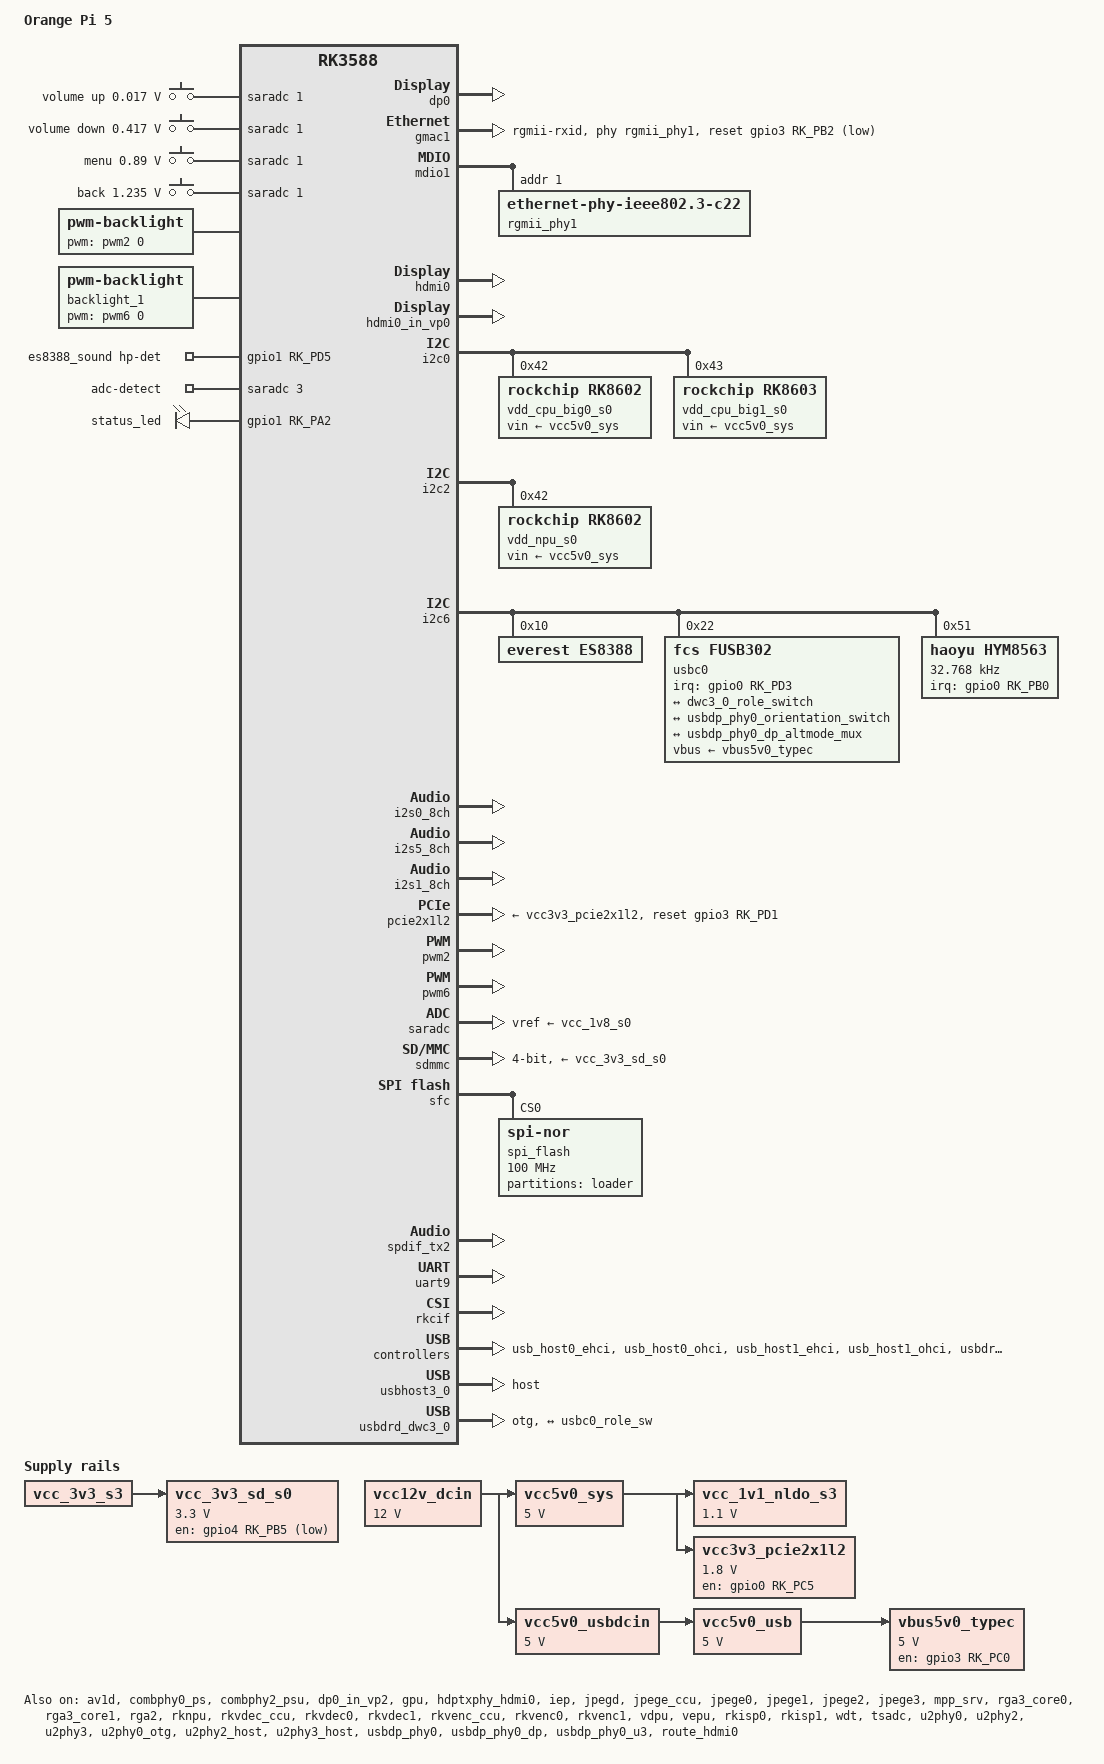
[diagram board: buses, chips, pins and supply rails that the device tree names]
// SPDX-License-Identifier: (GPL-2.0+ OR MIT)
/*
 * Copyright (c) 2021 Rockchip Electronics Co., Ltd.
 *
 */

/dts-v1/;

#include "dt-bindings/usb/pd.h"
#include "rk3588s.dtsi"
#include "rk3588-linux.dtsi"
#include "rk3588-rk806-single.dtsi"
#include <dt-bindings/gpio/gpio.h>
#include <dt-bindings/pwm/pwm.h>
#include <dt-bindings/pinctrl/rockchip.h>
#include <dt-bindings/input/rk-input.h>
#include <dt-bindings/display/drm_mipi_dsi.h>
#include <dt-bindings/display/rockchip_vop.h>
#include <dt-bindings/sensor-dev.h>

#include "rk3588s-orangepi-5-lcd.dtsi"
#include "rk3588s-orangepi-5-camera1.dtsi"
#include "rk3588s-orangepi-5-camera2.dtsi"
#include "rk3588s-orangepi-5-camera3.dtsi"

/ {
	model = "Orange Pi 5";
	compatible = "rockchip,rk3588s-orangepi-5", "rockchip,rk3588";

	/delete-node/ chosen;

	adc_keys: adc-keys {
		compatible = "adc-keys";
		io-channels = <&saradc 1>;
		io-channel-names = "buttons";
		keyup-threshold-microvolt = <1800000>;
		poll-interval = <100>;

		vol-up-key {
			label = "volume up";
			linux,code = <KEY_VOLUMEUP>;
			press-threshold-microvolt = <17000>;
		};

		vol-down-key {
			label = "volume down";
			linux,code = <KEY_VOLUMEDOWN>;
			press-threshold-microvolt = <417000>;
		};

		menu-key {
			label = "menu";
			linux,code = <KEY_MENU>;
			press-threshold-microvolt = <890000>;
		};

		back-key {
			label = "back";
			linux,code = <KEY_BACK>;
			press-threshold-microvolt = <1235000>;
		};
	};

	backlight: backlight {
		compatible = "pwm-backlight";
		brightness-levels = <
			  0  20  20  21  21  22  22  23
			 23  24  24  25  25  26  26  27
			 27  28  28  29  29  30  30  31
			 31  32  32  33  33  34  34  35
			 35  36  36  37  37  38  38  39
			 40  41  42  43  44  45  46  47
			 48  49  50  51  52  53  54  55
			 56  57  58  59  60  61  62  63
			 64  65  66  67  68  69  70  71
			 72  73  74  75  76  77  78  79
			 80  81  82  83  84  85  86  87
			 88  89  90  91  92  93  94  95
			 96  97  98  99 100 101 102 103
			104 105 106 107 108 109 110 111
			112 113 114 115 116 117 118 119
			120 121 122 123 124 125 126 127
			128 129 130 131 132 133 134 135
			136 137 138 139 140 141 142 143
			144 145 146 147 148 149 150 151
			152 153 154 155 156 157 158 159
			160 161 162 163 164 165 166 167
			168 169 170 171 172 173 174 175
			176 177 178 179 180 181 182 183
			184 185 186 187 188 189 190 191
			192 193 194 195 196 197 198 199
			200 201 202 203 204 205 206 207
			208 209 210 211 212 213 214 215
			216 217 218 219 220 221 222 223
			224 225 226 227 228 229 230 231
			232 233 234 235 236 237 238 239
			240 241 242 243 244 245 246 247
			248 249 250 251 252 253 254 255
		>;
		default-brightness-level = <200>;
	};

	backlight_1: backlight_1 {
		compatible = "pwm-backlight";
		brightness-levels = <
			  0  20  20  21  21  22  22  23
			 23  24  24  25  25  26  26  27
			 27  28  28  29  29  30  30  31
			 31  32  32  33  33  34  34  35
			 35  36  36  37  37  38  38  39
			 40  41  42  43  44  45  46  47
			 48  49  50  51  52  53  54  55
			 56  57  58  59  60  61  62  63
			 64  65  66  67  68  69  70  71
			 72  73  74  75  76  77  78  79
			 80  81  82  83  84  85  86  87
			 88  89  90  91  92  93  94  95
			 96  97  98  99 100 101 102 103
			104 105 106 107 108 109 110 111
			112 113 114 115 116 117 118 119
			120 121 122 123 124 125 126 127
			128 129 130 131 132 133 134 135
			136 137 138 139 140 141 142 143
			144 145 146 147 148 149 150 151
			152 153 154 155 156 157 158 159
			160 161 162 163 164 165 166 167
			168 169 170 171 172 173 174 175
			176 177 178 179 180 181 182 183
			184 185 186 187 188 189 190 191
			192 193 194 195 196 197 198 199
			200 201 202 203 204 205 206 207
			208 209 210 211 212 213 214 215
			216 217 218 219 220 221 222 223
			224 225 226 227 228 229 230 231
			232 233 234 235 236 237 238 239
			240 241 242 243 244 245 246 247
			248 249 250 251 252 253 254 255
		>;
		default-brightness-level = <200>;
	};

	dp0_sound: dp0-sound {
		status = "okay";
		compatible = "rockchip,hdmi";
		rockchip,card-name= "rockchip-dp0";
		rockchip,mclk-fs = <512>;
		rockchip,cpu = <&spdif_tx2>;
		rockchip,codec = <&dp0 1>;
		rockchip,jack-det;
	};

	hdmi0_sound: hdmi0-sound {
		status = "okay";
		compatible = "rockchip,hdmi";
		rockchip,mclk-fs = <128>;
		rockchip,card-name = "rockchip-hdmi0";
		rockchip,cpu = <&i2s5_8ch>;
		rockchip,codec = <&hdmi0>;
		rockchip,jack-det;
	};

	spdif_tx1_dc: spdif-tx1-dc {
		status = "disabled";
		compatible = "linux,spdif-dit";
		#sound-dai-cells = <0>;
	};

	spdif_tx1_sound: spdif-tx1-sound {
		status = "disabled";
		compatible = "simple-audio-card";
		simple-audio-card,name = "rockchip,spdif-tx1";
		simple-audio-card,cpu {
			sound-dai = <&spdif_tx1>;
		};
		simple-audio-card,codec {
			sound-dai = <&spdif_tx1_dc>;
		};
	};

	test-power {
		status = "okay";
	};

	vcc12v_dcin: vcc12v-dcin {
		compatible = "regulator-fixed";
		regulator-name = "vcc12v_dcin";
		regulator-always-on;
		regulator-boot-on;
		regulator-min-microvolt = <12000000>;
		regulator-max-microvolt = <12000000>;
	};

	vcc5v0_sys: vcc5v0-sys {
		compatible = "regulator-fixed";
		regulator-name = "vcc5v0_sys";
		regulator-always-on;
		regulator-boot-on;
		regulator-min-microvolt = <5000000>;
		regulator-max-microvolt = <5000000>;
		vin-supply = <&vcc12v_dcin>;
	};

	vcc_1v1_nldo_s3: vcc-1v1-nldo-s3 {
		compatible = "regulator-fixed";
		regulator-name = "vcc_1v1_nldo_s3";
		regulator-always-on;
		regulator-boot-on;
		regulator-min-microvolt = <1100000>;
		regulator-max-microvolt = <1100000>;
		vin-supply = <&vcc5v0_sys>;
	};

	vcc_3v3_sd_s0: vcc-3v3-sd-s0 {
		compatible = "regulator-fixed";
		regulator-name = "vcc_3v3_sd_s0";
		regulator-min-microvolt = <3300000>;
		regulator-max-microvolt = <3300000>;
		gpios = <&gpio4 RK_PB5 GPIO_ACTIVE_LOW>;
		enable-active-low;
		vin-supply = <&vcc_3v3_s3>;
		regulator-state-mem {
			regulator-off-in-suspend;
		};
	};

	vcc3v3_pcie2x1l2: vcc3v3-pcie2x1l2 {
		compatible = "regulator-fixed";
		regulator-name = "vcc3v3_pcie2x1l2";
		regulator-min-microvolt = <1800000>;
		regulator-max-microvolt = <1800000>;
		enable-active-high;
		regulator-boot-on;
		regulator-always-on;
		gpios = <&gpio0 RK_PC5 GPIO_ACTIVE_HIGH>;
		startup-delay-us = <50000>;
		vin-supply = <&vcc5v0_sys>;
	};

	vcc5v0_usbdcin: vcc5v0-usbdcin {
		compatible = "regulator-fixed";
		regulator-name = "vcc5v0_usbdcin";
		regulator-always-on;
		regulator-boot-on;
		regulator-min-microvolt = <5000000>;
		regulator-max-microvolt = <5000000>;
		vin-supply = <&vcc12v_dcin>;
	};

	vcc5v0_usb: vcc5v0-usb {
		compatible = "regulator-fixed";
		regulator-name = "vcc5v0_usb";
		regulator-always-on;
		regulator-boot-on;
		regulator-min-microvolt = <5000000>;
		regulator-max-microvolt = <5000000>;
		vin-supply = <&vcc5v0_usbdcin>;
	};

	vbus5v0_typec: vbus5v0-typec {
		compatible = "regulator-fixed";
		regulator-name = "vbus5v0_typec";
		regulator-min-microvolt = <5000000>;
		regulator-max-microvolt = <5000000>;
		enable-active-high;
		gpio = <&gpio3 RK_PC0 GPIO_ACTIVE_HIGH>;
		vin-supply = <&vcc5v0_usb>;
		pinctrl-names = "default";
		pinctrl-0 = <&typec5v_pwren>;
	};

	es8388_sound: es8388-sound {
		status = "okay";
		compatible = "rockchip,multicodecs-card";
		rockchip,card-name = "rockchip-es8388";
		hp-det-gpio = <&gpio1 RK_PD5 GPIO_ACTIVE_HIGH>;
		io-channels = <&saradc 3>;
		io-channel-names = "adc-detect";
		keyup-threshold-microvolt = <1800000>;
		poll-interval = <100>;
		rockchip,format = "i2s";
		rockchip,mclk-fs = <256>;
		rockchip,cpu = <&i2s1_8ch>;
		rockchip,codec = <&es8388>;
		rockchip,audio-routing =
			"Headphone", "LOUT1",
			"Headphone", "ROUT1",
			"Headphone", "Headphone Power",
			"Headphone", "Headphone Power",
			"LINPUT1", "Main Mic",
			"LINPUT2", "Main Mic",
			"RINPUT1", "Headset Mic",
			"RINPUT2", "Headset Mic";
		pinctrl-names = "default";
		pinctrl-0 = <&hp_det>;
		play-pause-key {
			label = "playpause";
			linux,code = <KEY_PLAYPAUSE>;
			press-threshold-microvolt = <2000>;
		};
	};

	wireless_bluetooth: wireless-bluetooth {
		compatible = "bluetooth-platdata";
		clocks = <&hym8563>;
		clock-names = "ext_clock";
		uart_rts_gpios = <&gpio3 RK_PD2 GPIO_ACTIVE_LOW>;
		pinctrl-names = "default", "rts_gpio";
		pinctrl-0 = <&uart9m2_rtsn>, <&bt_gpio>;
		pinctrl-1 = <&uart9_gpios>;
		BT,reset_gpio    = <&gpio3 RK_PA6 GPIO_ACTIVE_HIGH>;
		BT,wake_gpio     = <&gpio0 RK_PC6 GPIO_ACTIVE_HIGH>;
		status = "disabled";
	};

	wireless_wlan: wireless-wlan {
		compatible = "wlan-platdata";
		wifi_chip_type = "ap6275p";
		pinctrl-names = "default";
		pinctrl-0 = <&wifi_host_wake_irq>, <&wifi_poweren_gpio>;
		WIFI,host_wake_irq = <&gpio0 RK_PA0 GPIO_ACTIVE_HIGH>;
		WIFI,poweren_gpio = <&gpio0 RK_PD0 GPIO_ACTIVE_HIGH>;
		status = "disabled";
	};

	leds: gpio-leds {
		compatible = "gpio-leds";
		pinctrl-names = "default";
		pinctrl-0 =<&leds_gpio>;
		status = "okay";

		led@1 {
			gpios = <&gpio1 RK_PA2 GPIO_ACTIVE_HIGH>;
			label = "status_led";
			linux,default-trigger = "heartbeat";
			linux,default-trigger-delay-ms = <0>;
		};
	};

	/* If hdmirx node is disabled, delete the reserved-memory node here. */
	reserved-memory {
		#address-cells = <2>;
		#size-cells = <2>;
		ranges;

		/* Reserve 256MB memory for hdmirx-controller@fdee0000 */
		cma {
			compatible = "shared-dma-pool";
			reusable;
			reg = <0x0 (256 * 0x100000) 0x0 (256 * 0x100000)>;
			linux,cma-default;
		};
	};
};

&av1d {
	status = "okay";
};

&av1d_mmu {
	status = "okay";
};

&backlight_1 {
	pwms = <&pwm6 0 25000 0>;
	status = "okay";
};

&backlight {
	pwms = <&pwm2 0 25000 0>;
	status = "okay";
};

&can1 {
	status = "disabled";
	pinctrl-names = "default";
	pinctrl-0 = <&can1m1_pins>;
	assigned-clocks = <&cru CLK_CAN1>;
	assigned-clock-rates = <200000000>;
};

/*
   pin15: GPIO0_D4
   pin12: GPIO0_D5
*/
&can2 {
	status = "disabled";
	pinctrl-names = "default";
	pinctrl-0 = <&can2m1_pins>;
	assigned-clocks = <&cru CLK_CAN2>;
	assigned-clock-rates = <200000000>;
};

&cpu_l0 {
	cpu-supply = <&vdd_cpu_lit_s0>;
	mem-supply = <&vdd_cpu_lit_mem_s0>;
};

&cpu_b0 {
	cpu-supply = <&vdd_cpu_big0_s0>;
	mem-supply = <&vdd_cpu_big0_mem_s0>;
};

&cpu_b2 {
	cpu-supply = <&vdd_cpu_big1_s0>;
	mem-supply = <&vdd_cpu_big1_mem_s0>;
};

&combphy0_ps {
	status = "okay";
};

&combphy2_psu {
	status = "okay";
};

/* Fix tty terminal out of screen, and most dclk of resolutions was not supported in hdmiphy clock from parent clock by default */
&display_subsystem {
	clocks = <&hdptxphy_hdmi_clk0>;
	clock-names = "hdmi0_phy_pll";
};

&dp0 {
	status = "okay";
};

&dp0_in_vp2 {
	status = "okay";
};

&gpu {
	mali-supply = <&vdd_gpu_s0>;
	mem-supply = <&vdd_gpu_mem_s0>;
	status = "okay";
};

&gmac1 {
	/* Use rgmii-rxid mode to disable rx delay inside Soc */
	phy-mode = "rgmii-rxid";
	clock_in_out = "output";

	snps,reset-gpio = <&gpio3 RK_PB2 GPIO_ACTIVE_LOW>;
	snps,reset-active-low;
	/* Reset time is 20ms, 100ms for rtl8211f */
	snps,reset-delays-us = <0 20000 100000>;

	pinctrl-names = "default";
	pinctrl-0 = <&gmac1_miim
	             &gmac1_tx_bus2
	             &gmac1_rx_bus2
	             &gmac1_rgmii_clk
	             &gmac1_rgmii_bus>;

	tx_delay = <0x42>;
	/* rx_delay = <0x3f>; */

	phy-handle = <&rgmii_phy1>;
	status = "okay";
};

&mdio1 {
	rgmii_phy1: phy@1 {
		compatible = "ethernet-phy-ieee802.3-c22";
		reg = <0x1>;
	};
};

&hdmi0 {
	enable-gpios = <&gpio4 RK_PB6 GPIO_ACTIVE_HIGH>;
	cec-enable;
	status = "okay";
};

&hdmi0_in_vp0 {
	status = "okay";
};

&hdptxphy_hdmi0 {
	status = "okay";
};

&i2c0 {
	status = "okay";
	pinctrl-names = "default";
	pinctrl-0 = <&i2c0m2_xfer>;

	vdd_cpu_big0_s0: vdd_cpu_big0_mem_s0: rk8602@42 {
		compatible = "rockchip,rk8602";
		reg = <0x42>;
		vin-supply = <&vcc5v0_sys>;
		regulator-compatible = "rk860x-reg";
		regulator-name = "vdd_cpu_big0_s0";
		regulator-min-microvolt = <550000>;
		regulator-max-microvolt = <1050000>;
		regulator-ramp-delay = <2300>;
		rockchip,suspend-voltage-selector = <1>;
		regulator-boot-on;
		regulator-always-on;
		regulator-state-mem {
			regulator-off-in-suspend;
		};
	};

	vdd_cpu_big1_s0: vdd_cpu_big1_mem_s0: rk8603@43 {
		compatible = "rockchip,rk8603";
		reg = <0x43>;
		vin-supply = <&vcc5v0_sys>;
		regulator-compatible = "rk860x-reg";
		regulator-name = "vdd_cpu_big1_s0";
		regulator-min-microvolt = <550000>;
		regulator-max-microvolt = <1050000>;
		regulator-ramp-delay = <2300>;
		rockchip,suspend-voltage-selector = <1>;
		regulator-boot-on;
		regulator-always-on;
		regulator-state-mem {
			regulator-off-in-suspend;
		};
	};
};

&i2c1 {
	status = "disabled";
	pinctrl-names = "default";
	//pinctrl-0 = <&i2c1m4_xfer>;
	pinctrl-0 = <&i2c1m2_xfer>;
};

&i2c2 {
	status = "okay";

	vdd_npu_s0: vdd_npu_mem_s0: rk8602@42 {
		compatible = "rockchip,rk8602";
		reg = <0x42>;
		vin-supply = <&vcc5v0_sys>;
		regulator-compatible = "rk860x-reg";
		regulator-name = "vdd_npu_s0";
		regulator-min-microvolt = <550000>;
		regulator-max-microvolt = <950000>;
		regulator-ramp-delay = <2300>;
		rockchip,suspend-voltage-selector = <1>;
		regulator-boot-on;
		regulator-always-on;
		regulator-state-mem {
			regulator-off-in-suspend;
		};
	};
};

&i2c3 {
	status = "disabled";
	pinctrl-names = "default";
	pinctrl-0 = <&i2c3m0_xfer>;
};

/*
   pin3: GPIO1_B7
   pin5: GPIO1_B6
*/
&i2c5 {
	status = "disabled";
	pinctrl-names = "default";
	pinctrl-0 = <&i2c5m3_xfer>;
};

&i2c6 {
	status = "okay";
	pinctrl-names = "default";
	pinctrl-0 = <&i2c6m3_xfer>;

	es8388: es8388@10 {
		status = "okay";
		#sound-dai-cells = <0>;
		compatible = "everest,es8388", "everest,es8323";
		reg = <0x10>;
		clocks = <&mclkout_i2s1>;
		clock-names = "mclk";
		assigned-clocks = <&mclkout_i2s1>;
		assigned-clock-rates = <12288000>;
		pinctrl-names = "default";
		pinctrl-0 = <&i2s1m0_mclk>;
	};

	usbc0: fusb302@22 {
		compatible = "fcs,fusb302";
		reg = <0x22>;
		interrupt-parent = <&gpio0>;
		interrupts = <RK_PD3 IRQ_TYPE_LEVEL_LOW>;
		pinctrl-names = "default";
		pinctrl-0 = <&usbc0_int>;
		vbus-supply = <&vbus5v0_typec>;
		status = "okay";

		ports {
			#address-cells = <1>;
			#size-cells = <0>;

			port@0 {
				reg = <0>;
				usbc0_role_sw: endpoint@0 {
					remote-endpoint = <&dwc3_0_role_switch>;
				};
			};
		};

		usb_con: connector {
			compatible = "usb-c-connector";
			label = "USB-C";
			data-role = "dual";
			power-role = "dual";
			try-power-role = "sink";
			op-sink-microwatt = <1000000>;
			sink-pdos =
				<PDO_FIXED(5000, 1000, PDO_FIXED_USB_COMM)>;
			source-pdos =
				<PDO_FIXED(5000, 3000, PDO_FIXED_USB_COMM)>;

			altmodes {
				#address-cells = <1>;
				#size-cells = <0>;

				altmode@0 {
					reg = <0>;
					svid = <0xff01>;
					vdo = <0xffffffff>;
				};
			};

			ports {
				#address-cells = <1>;
				#size-cells = <0>;

				port@0 {
					reg = <0>;
					usbc0_orien_sw: endpoint {
						remote-endpoint = <&usbdp_phy0_orientation_switch>;
					};
				};

				port@1 {
					reg = <1>;
					dp_altmode_mux: endpoint {
						remote-endpoint = <&usbdp_phy0_dp_altmode_mux>;
					};
				};
			};
		};
	};

	hym8563: hym8563@51 {
		compatible = "haoyu,hym8563";
		reg = <0x51>;
		#clock-cells = <0>;
		clock-frequency = <32768>;
		clock-output-names = "hym8563";
		pinctrl-names = "default";
		pinctrl-0 = <&hym8563_int>;
		interrupt-parent = <&gpio0>;
		interrupts = <RK_PB0 IRQ_TYPE_LEVEL_LOW>;
		wakeup-source;
	};
};

&i2s0_8ch {
	status = "okay";
	pinctrl-0 = <&i2s0_lrck
		     &i2s0_sclk
		     &i2s0_sdi0
		     &i2s0_sdo0>;
};

&i2s5_8ch {
	status = "okay";
};

&i2s1_8ch {
	status = "okay";
	rockchip,i2s-tx-route = <3 2 1 0>;
	rockchip,i2s-rx-route = <1 3 2 0>;
	pinctrl-names = "default";
	pinctrl-0 = <&i2s1m0_sclk
	             &i2s1m0_lrck
	             &i2s1m0_sdi1
	             &i2s1m0_sdo3>;
};

&pcie2x1l2 {
	reset-gpios = <&gpio3 RK_PD1 GPIO_ACTIVE_HIGH>;
	vpcie3v3-supply = <&vcc3v3_pcie2x1l2>;
	rockchip,skip-scan-in-resume;
	status = "okay";
};

&pinctrl {
	sata {
		sata_reset:sata-reset{
			rockchip,pins = <3 RK_PD1 RK_FUNC_GPIO &pcfg_pull_up>;
		};
	};

	headphone {
		hp_det: hp-det {
			rockchip,pins = <1 RK_PD5 RK_FUNC_GPIO &pcfg_pull_none>;
		};
	};

	hym8563 {
		hym8563_int: hym8563-int {
			rockchip,pins = <0 RK_PB0 RK_FUNC_GPIO &pcfg_pull_up>;
		};
	};

	lcd {
		lcd0_rst_gpio: lcd0-rst-gpio {
			rockchip,pins = <1 RK_PB1 RK_FUNC_GPIO &pcfg_pull_none>;
		};

		lcd1_rst_gpio: lcd1-rst-gpio {
			rockchip,pins = <1 RK_PB3 RK_FUNC_GPIO &pcfg_pull_none>;
		};
	};

	gpio-func {
		leds_gpio: leds-gpio {
			rockchip,pins = <0 RK_PA2 RK_FUNC_GPIO &pcfg_pull_none>;
		};
	};

	usb-typec {
		usbc0_int: usbc0-int {
			rockchip,pins = <0 RK_PD3 RK_FUNC_GPIO &pcfg_pull_up>;
		};

		typec5v_pwren: typec5v-pwren {
			rockchip,pins = <3 RK_PC0 RK_FUNC_GPIO &pcfg_pull_none>;
		};
	};

	wireless-bluetooth {
		uart9_gpios: uart9-gpios {
			rockchip,pins = <3 RK_PD2 RK_FUNC_GPIO &pcfg_pull_none>;
		};

		bt_gpio: bt-gpio {
			rockchip,pins =
				<3 RK_PA6 RK_FUNC_GPIO &pcfg_pull_none>,
				<0 RK_PC6 RK_FUNC_GPIO &pcfg_pull_up>;
		};
	};

	wireless-wlan {
		wifi_host_wake_irq: wifi-host-wake-irq {
			rockchip,pins = <0 RK_PA0 RK_FUNC_GPIO &pcfg_pull_down>;
		};

		wifi_poweren_gpio: wifi-poweren-gpio {
			rockchip,pins = <0 RK_PD0 RK_FUNC_GPIO &pcfg_pull_up>;
		};
	};
};

&pwm0 {
	status = "disabled";
	pinctrl-names = "active";
	pinctrl-0 = <&pwm0m1_pins>;
};

/*
   pin26: GPIO1_A3
*/
&pwm1 {
	status = "disabled";
	pinctrl-names = "active";
	//pinctrl-0 = <&pwm1m2_pins>;
	pinctrl-0 = <&pwm1m1_pins>;
};

&pwm2 {
	status = "okay";
	pinctrl-names = "active";
	pinctrl-0 = <&pwm2m0_pins>;
};

&pwm3 {
	status = "disabled";
	pinctrl-names = "active";
	pinctrl-0 = <&pwm3m2_pins>;
	//pinctrl-0 = <&pwm3m0_pins>;
};

&pwm6 {
	status = "okay";
	pinctrl-names = "active";
	pinctrl-0 = <&pwm6m0_pins>;
};

&pwm13 {
	status = "disabled";
	pinctrl-names = "active";
	pinctrl-0 = <&pwm13m2_pins>;
};

/*
   pin11: GPIO4_B2
   pin13: GPIO4_B3
*/
&pwm14 {
	status = "disabled";
	pinctrl-names = "active";
	pinctrl-0 = <&pwm14m1_pins>;
};

/*
   pin7: GPIO1_C6
*/
&pwm15 {
	status = "disabled";
	pinctrl-names = "active";
	pinctrl-0 = <&pwm15m2_pins>;
};

&sata0 {
	pinctrl-names = "default";
	pinctrl-0 = <&sata_reset>;
	status = "disabled";
};

&saradc {
	status = "okay";
	vref-supply = <&vcc_1v8_s0>;
};

&sdhci {
	bus-width = <8>;
	no-sdio;
	no-sd;
	non-removable;
	max-frequency = <200000000>;
	mmc-hs400-1_8v;
	mmc-hs400-enhanced-strobe;
	status = "disabled";
};

&sdmmc {
	max-frequency = <150000000>;
	no-sdio;
	no-mmc;
	bus-width = <4>;
	cap-mmc-highspeed;
	cap-sd-highspeed;
	disable-wp;
	sd-uhs-sdr104;
	vmmc-supply = <&vcc_3v3_sd_s0>;
	vqmmc-supply = <&vccio_sd_s0>;
	status = "okay";
};

&sfc {
	status = "okay";
	max-freq = <100000000>;
	#address-cells = <1>;
	#size-cells = <0>;
	pinctrl-names = "default";
	pinctrl-0 = <&fspim0_pins>;

	spi_flash: spi-flash@0 {
		#address-cells = <1>;
		#size-cells = <0>;
		compatible = "jedec,spi-nor";
		reg = <0x0>;
		spi-max-frequency = <100000000>;
		spi-tx-bus-width = <1>;
		spi-rx-bus-width = <4>;
		status = "okay";

		partitions {
			compatible = "fixed-partitions";
			#address-cells = <1>;
			#size-cells = <1>;

			loader@0 {
				label = "loader";
				reg = <0x0 0x1000000>;
			};
		};
	};
};

&spdif_tx2 {
	status = "okay";
};

/*
   pin19: GPIO1_C1
   pin21: GPIO1_C0
   pin23: GPIO1_C2
   pin24: GPIO1_C4
*/
&spi4 {
	status = "disabled";
	pinctrl-names = "default";
	pinctrl-0 = <&spi4m0_cs1 &spi4m0_pins>;
	assigned-clocks = <&cru CLK_SPI4>;
	assigned-clock-rates = <200000000>;
	num-cs = <2>;

	spi_dev@1 {
		compatible = "rockchip,spidev";
		reg = <1>;
		spi-max-frequency = <50000000>;
	};
};

/*
   pin8:  GPIO4_A3
   pin10: GPIO4_A4
*/
&uart0 {
	status = "disabled";
	pinctrl-names = "default";
	pinctrl-0 = <&uart0m2_xfer>;
};

&uart1 {
	status = "disabled";
	pinctrl-names = "default";
	pinctrl-0 = <&uart1m1_xfer>;
};

&uart3 {
	status = "disabled";
	pinctrl-names = "default";
	pinctrl-0 = <&uart3m0_xfer>;
};

/*
   pin16: GPIO1_D3
   pin18: GPIO1_D2
*/
&uart4 {
	status = "disabled";
	pinctrl-names = "default";
	pinctrl-0 = <&uart4m0_xfer>;
};

&uart9 {
	status = "okay";
	pinctrl-names = "default";
	pinctrl-0 = <&uart9m2_xfer &uart9m2_ctsn>;
};

&iep {
	status = "okay";
};

&iep_mmu {
	status = "okay";
};

&jpegd {
	status = "okay";
};

&jpegd_mmu {
	status = "okay";
};

&jpege_ccu {
	status = "okay";
};

&jpege0 {
	status = "okay";
};

&jpege0_mmu {
	status = "okay";
};

&jpege1 {
	status = "okay";
};

&jpege1_mmu {
	status = "okay";
};

&jpege2 {
	status = "okay";
};

&jpege2_mmu {
	status = "okay";
};

&jpege3 {
	status = "okay";
};

&jpege3_mmu {
	status = "okay";
};

&mpp_srv {
	status = "okay";
};

&rga3_core0 {
	status = "okay";
};

&rga3_0_mmu {
	status = "okay";
};

&rga3_core1 {
	status = "okay";
};

&rga3_1_mmu {
	status = "okay";
};

&rga2 {
	status = "okay";
};

&rknpu {
	rknpu-supply = <&vdd_npu_s0>;
	mem-supply = <&vdd_npu_mem_s0>;
	status = "okay";
};

&rknpu_mmu {
	status = "okay";
};

&rkvdec_ccu {
	status = "okay";
};

&rkvdec0 {
	status = "okay";
};

&rkvdec0_mmu {
	status = "okay";
};

&rkvdec1 {
	status = "okay";
};

&rkvdec1_mmu {
	status = "okay";
};

&rkvenc_ccu {
	status = "okay";
};

&rkvenc0 {
	status = "okay";
};

&rkvenc0_mmu {
	status = "okay";
};

&rkvenc1 {
	status = "okay";
};

&rkvenc1_mmu {
	status = "okay";
};

&vdpu {
	status = "okay";
};

&vdpu_mmu {
	status = "okay";
};

&vepu {
	status = "okay";
};

&rkcif {
	status = "okay";
};

&rkcif_mmu {
	status = "okay";
};

&rkisp0 {
	status = "okay";
};

&isp0_mmu {
	status = "okay";
};

&rkisp1 {
	status = "okay";
};

&isp1_mmu {
	status = "okay";
};

/* watchdog */
&wdt {
	status = "okay";
};

&tsadc {
	status = "okay";
};

&u2phy0 {
	status = "okay";
};

&u2phy2 {
	status = "okay";
};

&u2phy3 {
	status = "okay";
};

&u2phy0_otg {
	rockchip,typec-vbus-det;
	status = "okay";
};

&u2phy2_host {
	status = "okay";
};

&u2phy3_host {
	status = "okay";
};

&usb_host0_ehci {
	status = "okay";
};

&usb_host0_ohci {
	status = "okay";
};

&usb_host1_ehci {
	status = "okay";
};

&usb_host1_ohci {
	status = "okay";
};

&usbdp_phy0 {
	status = "okay";
};

&usbdp_phy0_dp {
	status = "okay";
};

&usbdp_phy0_u3 {
	status = "okay";
};

&usbdrd3_0 {
	status = "okay";
};

&usbhost3_0 {
	dr_mode = "host";
	status = "okay";
};

&usbhost_dwc3_0 {
	status = "okay";
};

&usbdp_phy0 {
	orientation-switch;
	svid = <0xff01>;
	sbu1-dc-gpios = <&gpio4 RK_PA5 GPIO_ACTIVE_HIGH>;
	sbu2-dc-gpios = <&gpio4 RK_PA7 GPIO_ACTIVE_HIGH>;

	port {
		#address-cells = <1>;
		#size-cells = <0>;
		usbdp_phy0_orientation_switch: endpoint@0 {
			reg = <0>;
			remote-endpoint = <&usbc0_orien_sw>;
		};

		usbdp_phy0_dp_altmode_mux: endpoint@1 {
			reg = <1>;
			remote-endpoint = <&dp_altmode_mux>;
		};
	};
};

&usbdrd_dwc3_0 {
	status = "okay";
	dr_mode = "otg";
	usb-role-switch;
	port {
		#address-cells = <1>;
		#size-cells = <0>;
		dwc3_0_role_switch: endpoint@0 {
			reg = <0>;
			remote-endpoint = <&usbc0_role_sw>;
		};
	};
};

&rockchip_suspend {
	status = "okay";
	rockchip,sleep-debug-en = <1>;
};

&route_hdmi0 {
	status = "okay";
};

&vop {
	status = "okay";
	disable-win-move;
	assigned-clocks = <&cru ACLK_VOP>;
	assigned-clock-rates = <800000000>;
};

&vop_mmu {
	status = "okay";
};

/* vp0 & vp1 splice for 8K output */
&vp0 {
	cursor-win-id=<ROCKCHIP_VOP2_ESMART0>;
	rockchip,plane-mask = <(1 << ROCKCHIP_VOP2_CLUSTER0 | 1 << ROCKCHIP_VOP2_ESMART0)>;
	rockchip,primary-plane = <ROCKCHIP_VOP2_CLUSTER0>;
};

&vp1 {
	cursor-win-id=<ROCKCHIP_VOP2_ESMART1>;
	rockchip,plane-mask = <(1 << ROCKCHIP_VOP2_CLUSTER1 | 1 << ROCKCHIP_VOP2_ESMART1)>;
	rockchip,primary-plane = <ROCKCHIP_VOP2_CLUSTER1>;
};

&vp2 {
	cursor-win-id=<ROCKCHIP_VOP2_ESMART2>;
	rockchip,plane-mask = <(1 << ROCKCHIP_VOP2_CLUSTER2 | 1 << ROCKCHIP_VOP2_ESMART2)>;
	rockchip,primary-plane = <ROCKCHIP_VOP2_CLUSTER2>;
};

&vp3 {
	cursor-win-id=<ROCKCHIP_VOP2_ESMART3>;
	rockchip,plane-mask = <(1 << ROCKCHIP_VOP2_CLUSTER3 | 1 << ROCKCHIP_VOP2_ESMART3)>;
	rockchip,primary-plane = <ROCKCHIP_VOP2_CLUSTER3>;
};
